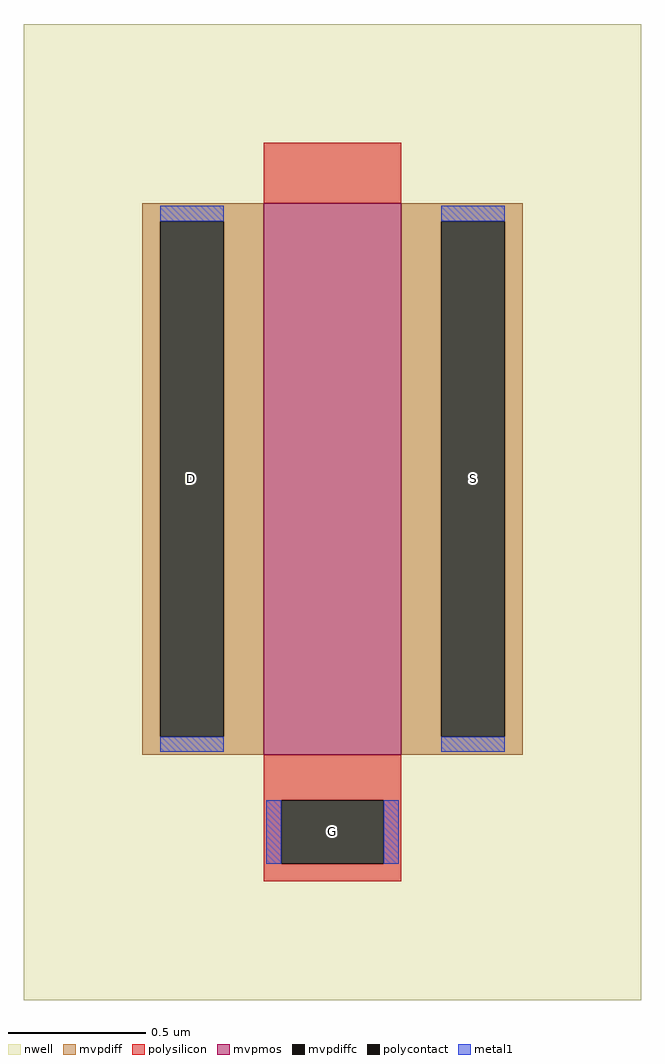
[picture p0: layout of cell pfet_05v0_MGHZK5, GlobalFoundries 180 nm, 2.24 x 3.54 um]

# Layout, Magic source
magic
tech gf180mcuD
magscale 1 10
<< nwell >>
rect -224 -354 224 354
<< mvpmos >>
rect -50 -176 50 224
<< mvpdiff >>
rect -138 211 -50 224
rect -138 -163 -125 211
rect -79 -163 -50 211
rect -138 -176 -50 -163
rect 50 211 138 224
rect 50 -163 79 211
rect 125 -163 138 211
rect 50 -176 138 -163
<< mvpdiffc >>
rect -125 -163 -79 211
rect 79 -163 125 211
<< polysilicon >>
rect -50 224 50 268
rect -50 -209 50 -176
rect -50 -255 -37 -209
rect 37 -255 50 -209
rect -50 -268 50 -255
<< polycontact >>
rect -37 -255 37 -209
<< metal1 >>
rect -125 211 -79 222
rect -125 -174 -79 -163
rect 79 211 125 222
rect 79 -174 125 -163
rect -48 -255 -37 -209
rect 37 -255 48 -209
<< labels >>
rlabel mvpdiffc -102 24 -102 24 0 D
port 1 nsew
rlabel mvpdiffc 102 24 102 24 0 S
port 2 nsew
rlabel polycontact 0 -232 0 -232 0 G
port 3 nsew
<< properties >>
string gencell pfet_05v0
string library gf180mcu
string parameters w 2.0 l 0.5 m 1 nf 1 diffcov 100 polycov 100 guard 0 glc 0 grc 0 gtc 0 gbc 0 tbcov 100 rlcov 100 topc 0 botc 1 poverlap 0 doverlap 0 lmin 0.5 wmin 0.3 class mosfet full_metal 0 viasrc 0 viadrn 0 viagate 0 viagb 0 viagr 0 viagl 0 viagt 0 doports 1 compatible {pfet_03v3 pfet_05v0 pfet_06v0}
<< end >>
